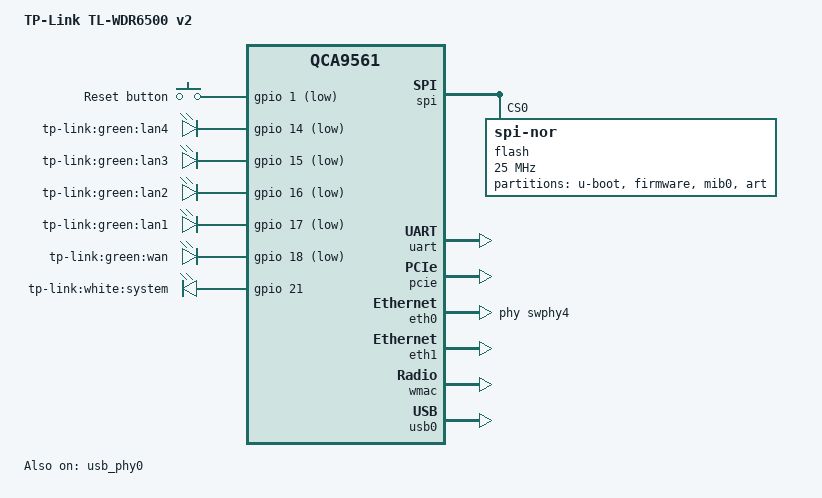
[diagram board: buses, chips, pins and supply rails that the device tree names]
// SPDX-License-Identifier: GPL-2.0-or-later OR MIT
/dts-v1/;

#include <dt-bindings/gpio/gpio.h>
#include <dt-bindings/input/input.h>

#include "qca956x.dtsi"

/ {
	compatible = "tplink,tl-wdr6500-v2", "qca,qca9561";
	model = "TP-Link TL-WDR6500 v2";

	aliases {
		led-boot = &led_system;
		led-failsafe = &led_system;
		led-running = &led_system;
		led-upgrade = &led_system;
		label-mac-device = &eth1;
	};

	keys {
		compatible = "gpio-keys";

		reset {
			label = "Reset button";
			linux,code = <KEY_RESTART>;
			gpios = <&gpio 1 GPIO_ACTIVE_LOW>;
		};
	};

	leds {
		compatible = "gpio-leds";

		lan4 {
			label = "tp-link:green:lan4";
			gpios = <&gpio 14 GPIO_ACTIVE_LOW>;
		};

		lan3 {
			label = "tp-link:green:lan3";
			gpios = <&gpio 15 GPIO_ACTIVE_LOW>;
		};

		lan2 {
			label = "tp-link:green:lan2";
			gpios = <&gpio 16 GPIO_ACTIVE_LOW>;
		};

		lan1 {
			label = "tp-link:green:lan1";
			gpios = <&gpio 17 GPIO_ACTIVE_LOW>;
		};

		wan {
			label = "tp-link:green:wan";
			gpios = <&gpio 18 GPIO_ACTIVE_LOW>;
		};

		led_system: system {
			label = "tp-link:white:system";
			gpios = <&gpio 21 GPIO_ACTIVE_HIGH>;
			default-state = "on";
		};
	};
};

&spi {
	status = "okay";

	num-cs = <1>;

	flash@0 {
		compatible = "jedec,spi-nor";
		reg = <0>;
		spi-max-frequency = <25000000>;

		partitions {
			compatible = "fixed-partitions";
			#address-cells = <1>;
			#size-cells = <1>;

			uboot: partition@0 {
				label = "u-boot";
				reg = <0x000000 0x010000>;
				read-only;
			};

			partition@10000 {
				compatible = "tplink,firmware";
				label = "firmware";
				reg = <0x010000 0x7d0000>;
			};

			partition@7e0000 {
				label = "mib0";
				reg = <0x7e0000 0x010000>;
				read-only;
			};

			art: partition@7f0000 {
				label = "art";
				reg = <0x7f0000 0x010000>;
				read-only;
			};
		};
	};
};

&uart {
	status = "okay";
};

&pcie {
	status = "okay";
};

&eth0 {
	status = "okay";

	phy-handle = <&swphy4>;

	mtd-mac-address = <&uboot 0x0fc00>;
	mtd-mac-address-increment = <1>;
};

&eth1 {
	status = "okay";

	mtd-mac-address = <&uboot 0x0fc00>;
};

&wmac {
	status = "okay";

	mtd-cal-data = <&art 0x1000>;

	mtd-mac-address = <&uboot 0x0fc00>;
	mtd-mac-address-increment = <(-1)>;
};

&usb0 {
	status = "okay";
};

&usb_phy0 {
	status = "okay";
};
